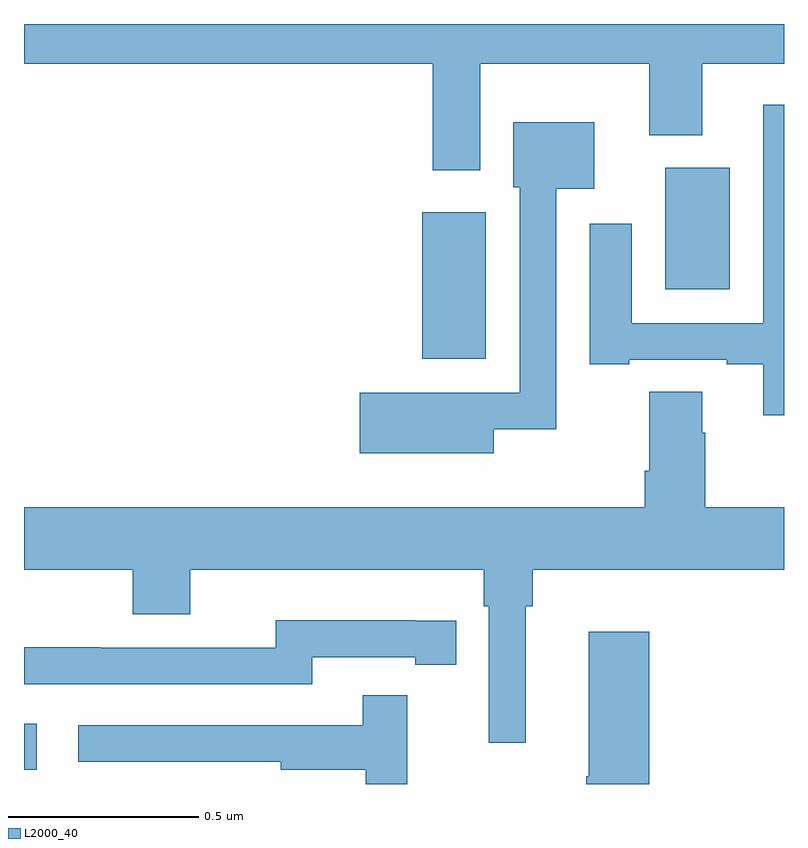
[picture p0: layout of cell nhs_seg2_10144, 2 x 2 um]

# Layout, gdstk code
import gdstk
lib = gdstk.Library(unit=1e-6, precision=1e-09)
def R(c, l, rs):  # rectangles x0, y0, x1, y1
    for r in rs: c.add(gdstk.rectangle(r[:2], r[2:], *l))
def P(c, l, *ps):  # polygons
    for p in ps: c.add(gdstk.Polygon(p, *l))
L2000_40 = (2000, 40)

nhs_seg2_10144 = lib.new_cell('nhs_seg2_10144')
R(nhs_seg2_10144, L2000_40, [(238,585.837,238.033,585.958), (239.048,586.919,239.215,587.305), (239.687,587.102,239.857,587.422)])
P(nhs_seg2_10144, L2000_40, [(239.2,587.696),(239.645,587.696),(239.645,587.507),(239.785,587.507),(239.785,587.696),(240,587.696),(240,587.8),(238,587.8),(238,587.696),(239.075,587.696),(239.075,587.415),(239.2,587.415)],
  [(240,587.587),(239.946,587.587),(239.946,587.013),(239.599,587.013),(239.599,587.275),(239.489,587.275),(239.489,586.905),(239.593,586.905),(239.593,586.917),(239.849,586.917),(239.849,586.905),(239.945,586.905),(239.945,586.77),(240,586.77)],
  [(239.236,586.733),(239.4,586.733),(239.4,587.366),(239.5,587.366),(239.5,587.542),(239.288,587.542),(239.288,587.37),(239.304,587.37),(239.304,586.83),(238.884,586.83),(238.884,586.67),(239.236,586.67)],
  [(239.32,586.268),(239.339,586.268),(239.339,586.364),(240,586.364),(240,586.528),(239.793,586.528),(239.793,586.724),(239.785,586.724),(239.785,586.832),(239.645,586.832),(239.645,586.624),(239.633,586.624),(239.633,586.528),(238,586.528),(238,586.364),(238.286,586.364),(238.286,586.247),(238.438,586.247),(238.438,586.364),(239.21,586.364),(239.21,586.268),(239.223,586.268),(239.223,585.909),(239.32,585.909)],
  [(238.758,586.134),(239.03,586.134),(239.03,586.114),(239.138,586.114),(239.138,586.23),(239.03,586.23),(239.03,586.231),(238.662,586.231),(238.662,586.158),(238.202,586.158),(238.202,586.16),(238,586.16),(238,586.062),(238.758,586.062)],
  [(239.645,586.201),(239.486,586.201),(239.486,585.821),(239.479,585.821),(239.479,585.8),(239.645,585.8)],
  [(239.009,586.033),(238.891,586.033),(238.891,585.954),(238.143,585.954),(238.143,585.858),(238.675,585.858),(238.675,585.838),(238.899,585.838),(238.899,585.8),(239.009,585.8)])

lib.write_gds('nhs_seg2_10144.gds')
